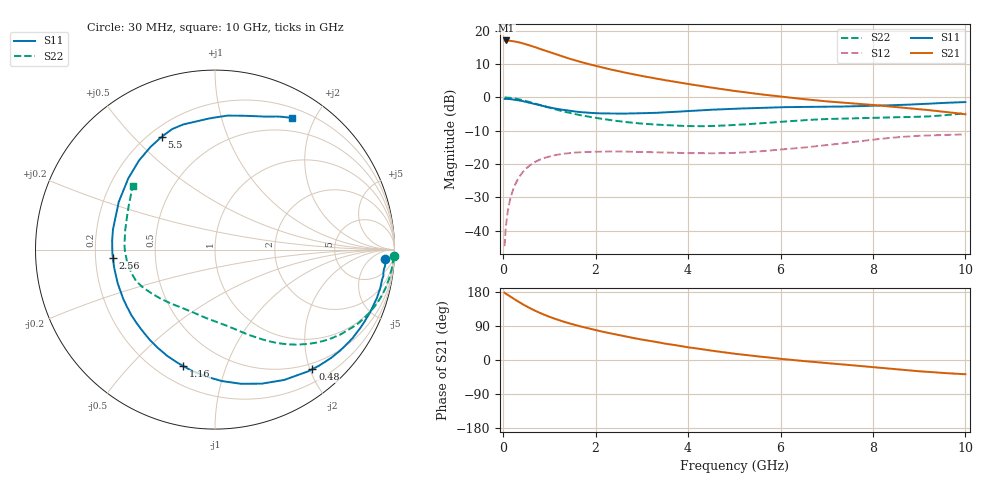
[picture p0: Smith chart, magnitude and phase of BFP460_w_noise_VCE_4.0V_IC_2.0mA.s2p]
! (c) 2016  Infineon Technologies AG, Munich
! Infineon Technologies  Discrete & RF Semiconductors
! BFP460
! VCE =  4.0 V,  IC =  2.0 mA
! Common Emitter S-Parameters:  Jan 2016
# GHz  S  MA  R  50
!  f  S11  S21  S12  S22
! GHz  MAG  ANG  MAG  ANG  MAG  ANG  MAG  ANG
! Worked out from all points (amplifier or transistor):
!   229 points, 30 MHz to 10 GHz, reference 50 ohm
!   highest |S21| = 17.0 dB at 70 MHz (marker M1)
!   |S21| within 3 dB of that: start of sweep to 897.7 MHz
!   unconditionally stable (mu >= 1): 3.867 GHz to 7.772 GHz
!   at 280 MHz: K = 0.09, MSG = 21.1 dB, |S12| = -25.5 dB
!   at 1.78 GHz: K = 0.51, MSG = 13.3 dB, |S12| = -16.4 dB
!   at 10 GHz: K = 0.92, MSG = 3.0 dB, |S12| = -11.1 dB
!   lowest NFmin = 0.68 dB at 450 MHz
!   S11 on the Smith chart (normalised r, x): 30 MHz: 17, -19; 480 MHz: 0.40, -2.04; 1.16 GHz: 0.30, -0.72; 2.56 GHz: 0.27, -0.04; 5.5 GHz: 0.25, +0.61; 10 GHz: 0.32, +1.70
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0.03  0.9497 -3.3  7.107 177.5  0.0059 86.6  0.9959 -2.2
0.07  0.9468 -7.8  7.115 173.8  0.0138 84.4  0.9935 -4.5
0.12  0.9453 -13.4  7.058 170.1  0.0238 81.5  0.9873 -7.8
0.2  0.9318 -22.1  6.966 163.8  0.0388 76.3  0.9736 -12.8
0.3  0.9113 -32.8  6.766 156.1  0.0565 70.1  0.9481 -18.9
0.4  0.8848 -43.0  6.51 148.7  0.0725 64.2  0.9153 -24.5
0.48  0.859 -50.8  6.279 143.2  0.0838 59.8  0.8864 -28.6
0.6  0.8223 -62.0  5.923 135.3  0.0986 53.7  0.8419 -34.4
0.8  0.7616 -79.0  5.305 123.8  0.1174 45.1  0.7662 -42.6
1  0.7082 -94.3  4.76 114.0  0.1305 38.1  0.6983 -49.3
1.16  0.6725 -105.2  4.363 107.1  0.1378 33.5  0.6518 -53.7
1.4  0.6337 -120.2  3.859 97.8  0.1454 27.8  0.5926 -59.5
1.7  0.5992 -136.8  3.355 87.7  0.151 22.4  0.5362 -65.3
2.06  0.5769 -154.4  2.893 77.2  0.1539 17.4  0.4855 -71.7
2.56  0.5712 -175.5  2.411 64.2  0.1543 12.6  0.4342 -80.2
3.4  0.5915 156.5  1.861 45.6  0.1497 8.7  0.3876 -95.6
4  0.6252 140.6  1.587 33.5  0.1461 8.5  0.3715 -107.4
5.1  0.6788 120.7  1.223 15.3  0.1485 13.0  0.3892 -130.1
5.5  0.6953 115.3  1.126 9.7  0.1543 14.9  0.4053 -136.8
6.8  0.72 100.9  0.898 -5.9  0.186 17.4  0.4658 -156.2
8.4  0.7617 78.3  0.728 -23.5  0.248 11.3  0.5023 -179.4
10  0.8496 59.7  0.558 -37.6  0.2782 -0.6  0.5804 142.1
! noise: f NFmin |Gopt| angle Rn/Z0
0.45  0.68  0.58  19  0.26
0.9  0.74  0.54  38  0.26
1.9  1.17  0.35  94  0.17
3.5  1.69  0.37  -166  0.13
